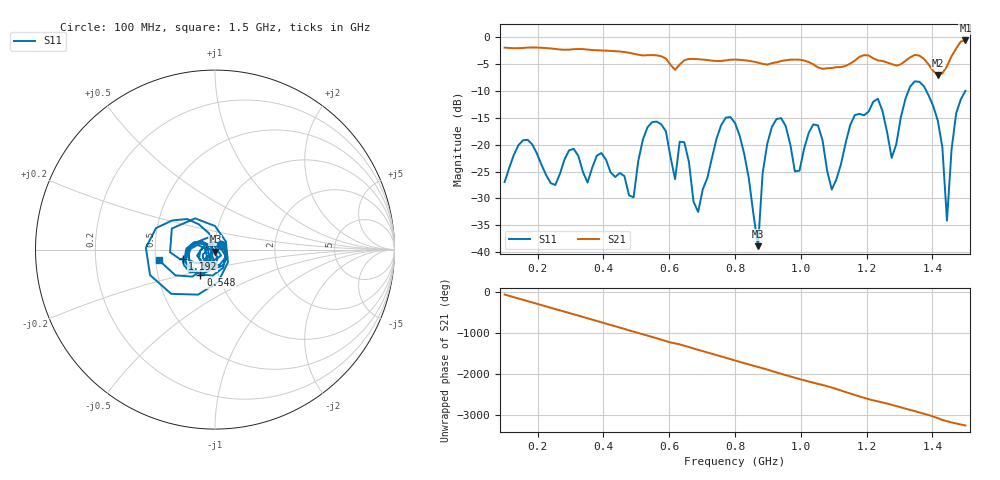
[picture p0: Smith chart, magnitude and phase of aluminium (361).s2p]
! NanoVNA-App
! Date: 2025-09-25 14:58:05
! Start: 100MHz Stop: 1,5GHz Points: 101
! S-Parameter data: F S11 S21 S12 S22
# Hz S RI R 50
!  Frequency  S11_Real  S11_Imag  S21_Real  S21_Imag  S12_Real  S12_Imag  S22_Real  S22_Imag
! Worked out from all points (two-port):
!   101 points, 100 MHz to 1.5 GHz, reference 50 ohm
!   highest |S21| = -0.59 dB at 1.5 GHz (marker M1); lowest = -7.0 dB at 1.416 GHz (marker M2)
!   |S21| within 3 dB of the highest: start of sweep to 577.7 MHz; 1.458 GHz to end of sweep (the widest 2 of 4)
!   lowest |S11| = -38.9 dB at 870 MHz (marker M3), VSWR 1.02, Z = 50.2 - j1.12 ohm
!   |S11| at or under -10 dB: start of sweep to 1.327 GHz; 1.381 GHz to 1.5 GHz (118.5 MHz wide, 8.22 % of centre)
!   S12 and S22 are empty: the file has one direction only
!   S11 on the Smith chart (normalised r, x): 100 MHz: 1.07, +0.06; 548 MHz: 0.82, -0.24; 1.192 GHz: 0.69, -0.07; 1.5 GHz: 0.52, -0.07
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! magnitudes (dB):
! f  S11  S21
! 100 MHz  -27.0  -1.9
! 156 MHz  -19.2  -2.0
! 338 MHz  -25.1  -2.2
! 492 MHz  -29.8  -3.1
! 548 MHz  -15.8  -3.3
! 576 MHz  -16.2  -3.5
! 646 MHz  -19.6  -4.3
! 688 MHz  -32.5  -4.1
! 800 MHz  -16.0  -4.1
! 870 MHz  -38.9  -4.7
! 912 MHz  -16.7  -4.8
! 982 MHz  -25.0  -4.2
! 1.038 GHz  -16.2  -5.0
! 1.094 GHz  -28.3  -5.7
! 1.192 GHz  -14.5  -3.3
! 1.234 GHz  -11.4  -4.3
! 1.276 GHz  -22.5  -5.0
! 1.346 GHz  -8.2  -3.3
! 1.416 GHz  -15.5  -7.0
! 1.444 GHz  -34.1  -5.4
! 1.472 GHz  -14.2  -2.1
! 1.5 GHz  -10.0  -0.6
